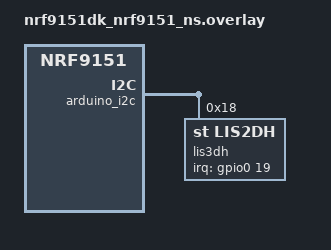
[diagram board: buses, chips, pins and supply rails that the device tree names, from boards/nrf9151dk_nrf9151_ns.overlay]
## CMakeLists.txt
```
# SPDX-License-Identifier: Apache-2.0
cmake_minimum_required(VERSION 3.20.0)
find_package(Zephyr REQUIRED HINTS $ENV{ZEPHYR_BASE})
project(imuprobe)
target_sources(app PRIVATE src/main.c)
```

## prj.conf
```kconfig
# TF-M: minimal profile (no bootloader partition) — matches the tracker app.
CONFIG_TFM_PROFILE_TYPE_MINIMAL=y

# TF-M builds hard-float; a soft-float app HardFaults at the NS boundary
# (atprobe field lesson — its first flash crashed before the banner).
CONFIG_FPU=y

CONFIG_LOG=y
CONFIG_LOG_MODE_IMMEDIATE=y
CONFIG_UART_INTERRUPT_DRIVEN=y
CONFIG_SHELL=y

# LIS3DH on the Arduino-header I2C (see boards/ overlay). The st,lis2dh
# driver covers it; the global-thread trigger delivers the any-motion
# interrupt (INT1 -> P0.02). LED1 pulses per interrupt — the demo works
# without a terminal.
CONFIG_I2C=y
CONFIG_GPIO=y
CONFIG_SENSOR=y
CONFIG_SENSOR_SHELL=y
CONFIG_SENSOR_INFO=y
CONFIG_LIS2DH_TRIGGER_GLOBAL_THREAD=y
```

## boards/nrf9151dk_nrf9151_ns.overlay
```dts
/* No MCUboot — TF-M boots directly */
#include <samples/cellular/nrf91_no_bootloader_partitions.dtsi>
#include <samples/cellular/nrf91_sram_partitions.dtsi>
#include <zephyr/dt-bindings/sensor/lis2dh.h>

/* Adafruit LIS3DH breakout on the Arduino header:
 *   SDA -> P0.30 (D14), SCL -> P0.31 (D15), VIN -> VDD, INT1 -> P0.19 (A5).
 * SDO/CS untouched: breakout defaults give I2C mode at address 0x18.
 * INT1 shares Button 4 (P0.19, disabled below). Only INT1 is wired, so
 * any-motion routes there (anym-on-int1).
 */
&button3 {
	status = "disabled";
};

&arduino_i2c {
	status = "okay";
	lis3dh: lis3dh@18 {
		compatible = "st,lis2dh";
		reg = <0x18>;
		irq-gpios = <&gpio0 19 GPIO_ACTIVE_HIGH>;
		anym-on-int1;
		/* OR-mode (default) — safe with a small threshold ONLY
		 * because main.c routes the high-pass filter into the INT
		 * engine (gravity never reaches the comparator). 6D modes
		 * tried and rejected: they fire on entering recognized
		 * orientation zones, so wild tumbling between zones is
		 * invisible — field-tested 2026-07-14. */
	};
};
```

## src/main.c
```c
/*
 * imuprobe: LIS3DH bring-up console — nothing else runs.
 *
 * Proves the wiring and the interrupt path before the tracker grows an
 * IMU motion_source. Two ways to see it work over `make uart`:
 *
 *   sensor get lis3dh@18 accel_xyz     read a sample on demand
 *   (shake the board)                  any-motion interrupt logs a line
 *
 * The any-motion threshold is set LOW so a desk nudge fires it; the
 * tracker's eventual threshold is a tuning question for later.
 */
#include <zephyr/kernel.h>
#include <zephyr/device.h>
#include <zephyr/drivers/gpio.h>
#include <zephyr/drivers/i2c.h>
#include <zephyr/drivers/sensor.h>
#include <zephyr/logging/log.h>

LOG_MODULE_REGISTER(imuprobe, LOG_LEVEL_INF);

static uint32_t motion_count;

/* LED1 pulses per any-motion interrupt: the wiring demo needs no UART. */
static const struct gpio_dt_spec led =
	GPIO_DT_SPEC_GET_OR(DT_ALIAS(led0), gpios, {0});
static void led_off_fn(struct k_timer *t) { gpio_pin_set_dt(&led, 0); }
static K_TIMER_DEFINE(led_off, led_off_fn, NULL);

static void motion_cb(const struct device *dev,
		      const struct sensor_trigger *trig)
{
	struct sensor_value v[3];

	if (led.port) {
		gpio_pin_set_dt(&led, 1);
		k_timer_start(&led_off, K_MSEC(200), K_NO_WAIT);
	}
	if (sensor_sample_fetch(dev) == 0 &&
	    sensor_channel_get(dev, SENSOR_CHAN_ACCEL_XYZ, v) == 0) {
		LOG_INF("MOTION #%u  x %d.%02d  y %d.%02d  z %d.%02d m/s2",
			++motion_count,
			v[0].val1, abs(v[0].val2) / 10000,
			v[1].val1, abs(v[1].val2) / 10000,
			v[2].val1, abs(v[2].val2) / 10000);
	} else {
		LOG_INF("MOTION #%u", ++motion_count);
	}
}

int main(void)
{
	const struct device *dev = DEVICE_DT_GET_ONE(st_lis2dh);

	if (led.port) {
		gpio_pin_configure_dt(&led, GPIO_OUTPUT_INACTIVE);
	}
	if (!device_is_ready(dev)) {
		LOG_ERR("LIS3DH not ready — check wiring/address "
			"(SDA P0.30, SCL P0.31, addr 0x18)");
		return 0;
	}

	/* Driver default ODR is "runtime" = sensor left at power-on 0 Hz;
	 * pick 10 Hz low-power before anything can sample or trigger. */
	struct sensor_value odr = { .val1 = 10 };
	int err = sensor_attr_set(dev, SENSOR_CHAN_ACCEL_XYZ,
				  SENSOR_ATTR_SAMPLING_FREQUENCY, &odr);
	if (err) {
		LOG_ERR("set ODR: %d", err);
	}

	/* Wake-up threshold on HP-FILTERED accel (gravity already removed):
	 * ~0.8 m/s2 of dynamic movement in any direction. */
	struct sensor_value th = { .val1 = 0, .val2 = 800000 };
	struct sensor_value dur = { .val1 = 1 };
	struct sensor_trigger trig = {
		.type = SENSOR_TRIG_DELTA,
		.chan = SENSOR_CHAN_ACCEL_XYZ,
	};

	err = sensor_attr_set(dev, SENSOR_CHAN_ACCEL_XYZ,
			      SENSOR_ATTR_SLOPE_TH, &th);
	if (!err) {
		err = sensor_attr_set(dev, SENSOR_CHAN_ACCEL_XYZ,
				      SENSOR_ATTR_SLOPE_DUR, &dur);
	}
	if (!err) {
		err = sensor_trigger_set(dev, &trig, motion_cb);
	}
	if (err) {
		LOG_ERR("any-motion setup: %d (reads still work)", err);
	}

	/* ST AN3308 wake-up recipe: high-pass the INT1 engine's input so
	 * gravity is subtracted and any-direction movement trips the small
	 * threshold above. The Zephyr driver never touches this filter, so
	 * poke CTRL_REG2.HP_IA1 directly and zero the filter by reading
	 * REFERENCE. Without this, OR-mode fires forever at rest (gravity
	 * beats any usable threshold) — measured before adding it. */
	const struct i2c_dt_spec bus = I2C_DT_SPEC_GET(DT_NODELABEL(lis3dh));
	uint8_t ref;

	if (i2c_reg_write_byte_dt(&bus, 0x21 /* CTRL_REG2 */,
				  0x01 /* HP_IA1 */) ||
	    i2c_reg_read_byte_dt(&bus, 0x26 /* REFERENCE */, &ref)) {
		LOG_ERR("HP filter setup failed");
	}

	LOG_INF("imuprobe ready (%s) — shake me, or: sensor get %s accel_xyz",
		dev->name, dev->name);
	return 0;
}
```
